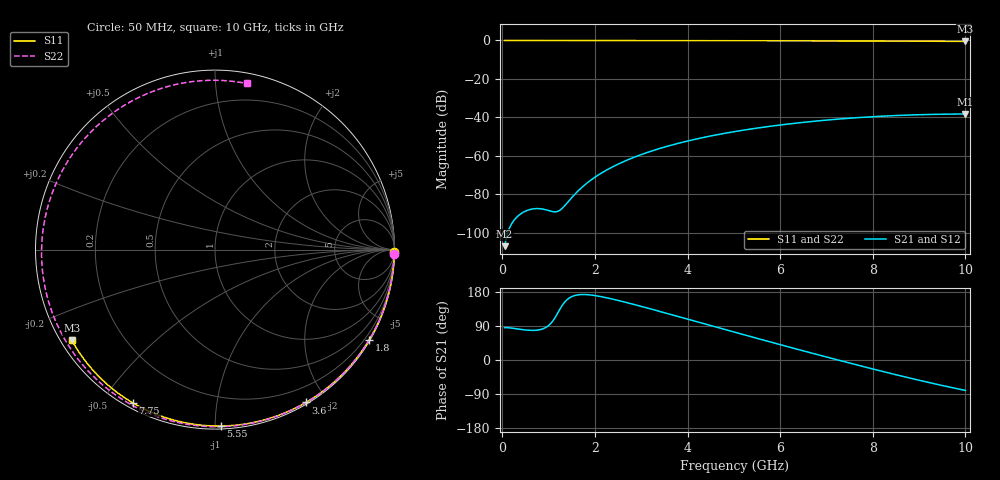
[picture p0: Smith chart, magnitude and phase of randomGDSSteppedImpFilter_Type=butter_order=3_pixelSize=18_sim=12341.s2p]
! freq	dB(S11)	phase(S11)	dB(S12)	phase(S12)
!  dB(S21)	phase(S21)	dB(S22)	phase(S22)
!S-par simulation data
#  GHz  S  DB  R 50
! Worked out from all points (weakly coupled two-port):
!   200 points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, 50 MHz to 10 GHz, reference 50 ohm
!   highest |S21| = -38.28 dB at 10 GHz (marker M1); lowest = -107.1 dB at 50 MHz (marker M2)
!   lowest |S11| = -0.5 dB at 10 GHz (marker M3), VSWR 34.77, Z = 1.56 - j14.5 ohm
!   |S11| at or under -10 dB: nowhere
!   |S22| runs from -0.5 to 0.0 dB; largest |S21 - S12| = 0
!   S11 on the Smith chart (normalised r, x): 50 MHz: open; 1.8 GHz: 0.03, -3.68; 3.6 GHz: 0.02, -1.76; 5.55 GHz: 0.02, -1.03; 7.75 GHz: 0.02, -0.60; 10 GHz: 0.03, -0.29
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0.05  -0.00 -0.8  -107.07 85.3  -107.07 85.3  -0.00 -1.6
0.75  -0.02 -12.8  -87.50 78.8  -87.50 78.8  -0.03 -24.0
1.55  -0.03 -26.2  -80.45 169.7  -80.45 169.7  -0.06 -48.9
1.75  -0.04 -29.5  -75.80 172.8  -75.80 172.8  -0.07 -54.9
1.8  -0.04 -30.4  -74.78 172.6  -74.78 172.6  -0.07 -56.4
2.1  -0.05 -35.3  -69.62 168.0  -69.62 168.0  -0.08 -65.3
2.45  -0.05 -41.0  -64.96 158.7  -64.96 158.7  -0.09 -75.5
2.9  -0.06 -48.2  -60.29 144.8  -60.29 144.8  -0.11 -88.2
3.4  -0.07 -56.1  -56.22 128.2  -56.22 128.2  -0.13 -101.9
3.6  -0.08 -59.2  -54.82 121.5  -54.82 121.5  -0.14 -107.3
4.3  -0.10 -69.9  -50.71 97.7  -50.71 97.7  -0.17 -125.7
5.05  -0.12 -81.0  -47.30 72.2  -47.30 72.2  -0.21 -144.8
5.55  -0.14 -88.1  -45.44 55.5  -45.44 55.5  -0.24 -157.5
6.15  -0.17 -96.6  -43.57 35.6  -43.57 35.6  -0.28 -172.6
6.7  -0.20 -104.1  -42.13 17.6  -42.13 17.6  -0.32 173.3
7.2  -0.23 -110.9  -41.03 1.5  -41.03 1.5  -0.35 160.2
7.75  -0.27 -118.2  -40.05 -15.9  -40.05 -15.9  -0.39 145.4
8.35  -0.32 -126.1  -39.24 -34.4  -39.24 -34.4  -0.44 128.6
8.8  -0.37 -132.0  -38.80 -47.7  -38.80 -47.7  -0.46 115.6
9.2  -0.41 -137.2  -38.53 -59.1  -38.53 -59.1  -0.49 103.7
9.6  -0.45 -142.4  -38.36 -70.0  -38.36 -70.0  -0.50 91.6
10  -0.50 -147.7  -38.28 -80.2  -38.28 -80.2  -0.52 79.2
